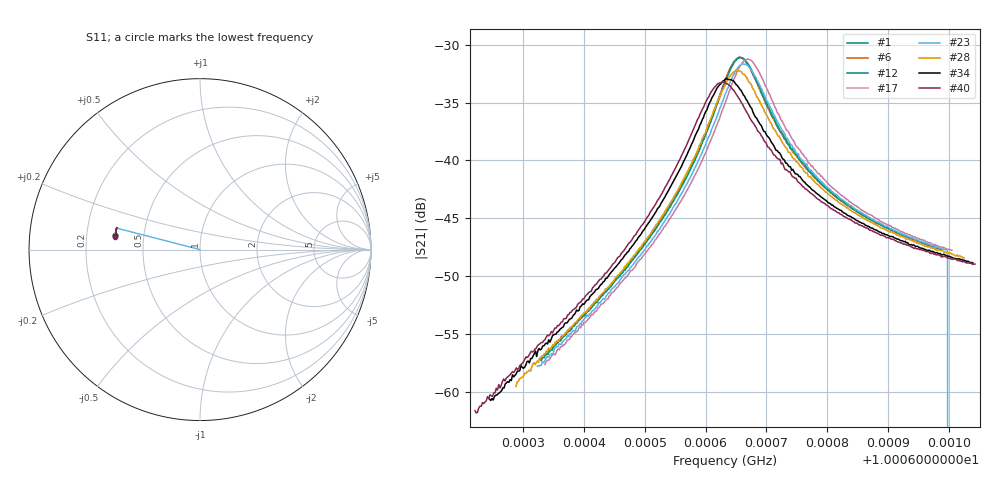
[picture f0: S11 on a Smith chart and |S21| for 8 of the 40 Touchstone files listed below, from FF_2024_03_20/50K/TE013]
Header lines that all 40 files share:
#  HZ  S  RI  R  50.00
! Rohde & Schwarz Vector Network Analyzer
! Rohde-Schwarz,ZNB20-2Port,1311601062101988,3.16
! freq[Hz]  re:S11  im:S11  re:S21  im:S21  re:S12  im:S12  re:S22  im:S22
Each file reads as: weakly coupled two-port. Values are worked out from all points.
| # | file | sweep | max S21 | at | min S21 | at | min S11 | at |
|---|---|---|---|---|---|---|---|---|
| 1 | 0_3_48.198_50.1954918_0.271_2.329463481903076_.s2p | 10.00633 GHz to 10.006986 GHz | -31.07 dB | 10.006656 GHz | -57.3 dB | 10.00633 GHz | -6.0 dB | 10.006655 GHz |
| 2 | 1_3_48.2001_50.1964035_0.271_4.738783359527588_.s2p | 10.006333 GHz to 10.006983 GHz | -31.07 dB | 10.006653 GHz | -57.1 dB | 10.006333 GHz | -6.0 dB | 10.006655 GHz |
| 3 | 2_3_48.1969_50.1958656_0.271_7.14286994934082_.s2p | 10.006334 GHz to 10.006982 GHz | -31.08 dB | 10.006655 GHz | -56.9 dB | 10.006334 GHz | -6.0 dB | 10.006658 GHz |
| 4 | 3_3_48.2007_50.1966286_0.271_9.559998035430908_.s2p | 10.006328 GHz to 10.006988 GHz | -31.07 dB | 10.006655 GHz | -57.2 dB | 10.00633 GHz | -6.0 dB | 10.006648 GHz |
| 5 | 4_3_48.2001_50.1960983_0.196_11.944502592086792_.s2p | 10.006332 GHz to 10.006984 GHz | -31.06 dB | 10.006656 GHz | -57.0 dB | 10.006332 GHz | -6.0 dB | 10.006661 GHz |
| 6 | 5_3_48.2023_50.1955681_0.391_14.367466688156128_.s2p | 10.006331 GHz to 10.006986 GHz | -31.07 dB | 10.006657 GHz | -57.1 dB | 10.006331 GHz | -6.0 dB | 10.006655 GHz |
| 7 | 6_3_48.1991_50.1955681_0.451_16.793635606765747_.s2p | 10.00633 GHz to 10.006987 GHz | -31.08 dB | 10.006655 GHz | -57.2 dB | 10.00633 GHz | -6.0 dB | 10.006653 GHz |
| 8 | 7_3_48.2049_50.1951103_0.466_19.393944263458252_.s2p | 10.006331 GHz to 10.006986 GHz | -31.09 dB | 10.006655 GHz | -57.2 dB | 10.006331 GHz | -6.0 dB | 10.006654 GHz |
| 9 | 8_3_48.2039_50.1969376_0.451_21.80226230621338_.s2p | 10.006329 GHz to 10.006988 GHz | -31.08 dB | 10.006655 GHz | -57.2 dB | 10.006329 GHz | -6.0 dB | 10.006653 GHz |
| 10 | 9_3_48.2017_50.1959496_0.331_24.22368550300598_.s2p | 10.006331 GHz to 10.006986 GHz | -31.06 dB | 10.006658 GHz | -57.2 dB | 10.006331 GHz | -6.0 dB | 10.006657 GHz |
| 11 | 10_3_48.1969_50.1968613_52.03_33.019240379333496_.s2p | 10.00633 GHz to 10.006987 GHz | -31.09 dB | 10.006658 GHz | -57.3 dB | 10.00633 GHz | -6.0 dB | 10.006655 GHz |
| 12 | 11_3_48.2033_50.1970863_253.998_35.43227767944336_.s2p | 10.00633 GHz to 10.006987 GHz | -31.10 dB | 10.006657 GHz | -57.3 dB | 10.00633 GHz | -6.0 dB | 10.006655 GHz |
| 13 | 12_3_48.2022_50.1958656_491.805_37.865092515945435_.s2p | 10.00633 GHz to 10.006989 GHz | -31.10 dB | 10.006663 GHz | -57.4 dB | 10.00633 GHz | -6.0 dB | 10.006661 GHz |
| 14 | 13_3_48.1974_50.1964798_740.381_40.287872076034546_.s2p | 10.006333 GHz to 10.006991 GHz | -31.09 dB | 10.006662 GHz | -57.4 dB | 10.006333 GHz | -6.0 dB | 10.00666 GHz |
| 15 | 14_3_48.2011_50.1966286_986.701_42.721736669540405_.s2p | 10.006339 GHz to 10.006991 GHz | -31.13 dB | 10.006667 GHz | -57.2 dB | 10.006341 GHz | -6.0 dB | 10.006665 GHz |
| 16 | 15_3_48.2001_50.1960983_1245.256_45.16709232330322_.s2p | 10.006337 GHz to 10.006999 GHz | -31.19 dB | 10.006668 GHz | -57.4 dB | 10.00634 GHz | -6.0 dB | 10.00667 GHz |
| 17 | 16_3_48.2017_50.1954918_1484.081_47.55527353286743_.s2p | 10.006336 GHz to 10.007005 GHz | -31.23 dB | 10.006669 GHz | -57.6 dB | 10.006336 GHz | -6.0 dB | 10.006671 GHz |
| 18 | 17_3_48.201_50.196331_1730.655_49.98827266693115_.s2p | 10.006337 GHz to 10.007005 GHz | -31.29 dB | 10.006668 GHz | -57.5 dB | 10.006337 GHz | -6.0 dB | 10.006669 GHz |
| 19 | 18_3_48.1988_50.1972427_1937.148_52.408873319625854_.s2p | 10.006336 GHz to 10.007005 GHz | -31.35 dB | 10.006665 GHz | -57.5 dB | 10.006336 GHz | -6.0 dB | 10.006669 GHz |
| 20 | 19_3_48.2009_50.1958656_2186.552_54.823513984680176_.s2p | 10.006333 GHz to 10.007006 GHz | -31.42 dB | 10.00667 GHz | -57.6 dB | 10.006333 GHz | -6.0 dB | 10.006668 GHz |
| 21 | 20_3_48.2014_50.1959763_2426.067_57.232932567596436_.s2p | 10.006331 GHz to 10.007007 GHz | -31.48 dB | 10.006664 GHz | -57.7 dB | 10.006332 GHz | -6.0 dB | 10.006662 GHz |
| 22 | 21_3_48.1994_50.1959_2655.52_59.63330054283142_.s2p | 10.006325 GHz to 10.007011 GHz | -31.56 dB | 10.006663 GHz | -58.0 dB | 10.006325 GHz | -6.0 dB | 10.006663 GHz |
| 23 | 22_3_48.1968_50.1957436_2924.502_62.06825518608093_.s2p | 10.006323 GHz to 10.00701 GHz | -31.62 dB | 10.006661 GHz | -57.8 dB | 10.006323 GHz | -6.0 dB | 10.00666 GHz |
| 24 | 23_3_48.1992_50.1955948_3133.619_64.48980236053467_.s2p | 10.00632 GHz to 10.00701 GHz | -31.75 dB | 10.006659 GHz | -58.0 dB | 10.00632 GHz | -6.0 dB | 10.006652 GHz |
| 25 | 24_3_48.2018_50.1944504_3421.726_67.13771367073059_.s2p | 10.006312 GHz to 10.007014 GHz | -31.86 dB | 10.006659 GHz | -58.3 dB | 10.006312 GHz | -6.0 dB | 10.00665 GHz |
| 26 | 25_3_48.2033_50.1948318_3647.966_69.54550004005432_.s2p | 10.006304 GHz to 10.007018 GHz | -31.96 dB | 10.006657 GHz | -58.8 dB | 10.006304 GHz | -6.0 dB | 10.006654 GHz |
| 27 | 26_3_48.198_50.1958237_3888.629_71.96951007843018_.s2p | 10.006302 GHz to 10.007015 GHz | -32.12 dB | 10.006651 GHz | -58.7 dB | 10.006302 GHz | -6.0 dB | 10.006646 GHz |
| 28 | 27_3_48.1954_50.1948318_4139.249_74.36823201179504_.s2p | 10.006289 GHz to 10.007025 GHz | -32.21 dB | 10.006653 GHz | -59.5 dB | 10.006289 GHz | -6.0 dB | 10.006646 GHz |
| 29 | 28_3_48.2008_50.1954422_4379.642_76.80361366271973_.s2p | 10.006284 GHz to 10.007025 GHz | -32.33 dB | 10.006651 GHz | -59.6 dB | 10.006284 GHz | -6.0 dB | 10.006649 GHz |
| 30 | 29_3_48.1999_50.1956673_4620.651_79.22612380981445_.s2p | 10.006277 GHz to 10.007028 GHz | -32.49 dB | 10.006647 GHz | -59.8 dB | 10.006277 GHz | -6.0 dB | 10.006649 GHz |
| 31 | 30_3_48.2044_50.1968117_4860.143_81.67024326324463_.s2p | 10.006266 GHz to 10.007035 GHz | -32.56 dB | 10.006647 GHz | -60.3 dB | 10.006266 GHz | -6.0 dB | 10.006639 GHz |
| 32 | 31_3_48.1984_50.1959763_5100.561_84.09166717529297_.s2p | 10.006262 GHz to 10.007037 GHz | -32.67 dB | 10.006645 GHz | -60.5 dB | 10.006264 GHz | -6.0 dB | 10.006643 GHz |
| 33 | 32_3_48.1972_50.1939926_5921.673_92.36378002166748_.s2p | 10.006255 GHz to 10.007039 GHz | -32.84 dB | 10.006637 GHz | -60.5 dB | 10.006255 GHz | -6.0 dB | 10.006631 GHz |
| 34 | 33_3_48.201_50.1956673_6191.599_94.91631650924683_.s2p | 10.006245 GHz to 10.007039 GHz | -32.91 dB | 10.006634 GHz | -60.8 dB | 10.006247 GHz | -6.0 dB | 10.006628 GHz |
| 35 | 34_3_48.2_50.1963577_6441.721_97.33660221099854_.s2p | 10.00624 GHz to 10.007038 GHz | -32.98 dB | 10.006633 GHz | -61.0 dB | 10.00624 GHz | -6.0 dB | 10.006637 GHz |
| 36 | 35_3_48.2016_50.1959763_6692.027_99.74848985671997_.s2p | 10.006236 GHz to 10.007039 GHz | -33.03 dB | 10.006636 GHz | -61.3 dB | 10.006238 GHz | -6.0 dB | 10.006632 GHz |
| 37 | 36_3_48.199_50.1947556_6932.485_102.23069739341736_.s2p | 10.006229 GHz to 10.007044 GHz | -33.03 dB | 10.006632 GHz | -61.8 dB | 10.006229 GHz | -6.0 dB | 10.006632 GHz |
| 38 | 37_3_48.1996_50.1943741_7152.818_104.64103603363037_.s2p | 10.006227 GHz to 10.007043 GHz | -33.10 dB | 10.006629 GHz | -61.8 dB | 10.006227 GHz | -6.0 dB | 10.006623 GHz |
| 39 | 38_3_48.1996_50.1949883_7412.421_107.09664964675903_.s2p | 10.006225 GHz to 10.007042 GHz | -33.14 dB | 10.006629 GHz | -61.6 dB | 10.006225 GHz | -6.0 dB | 10.006629 GHz |
| 40 | 39_3_48.198_50.1953697_7662.771_109.54158782958984_.s2p | 10.006221 GHz to 10.007043 GHz | -33.21 dB | 10.006628 GHz | -61.8 dB | 10.006223 GHz | -6.0 dB | 10.006624 GHz |
